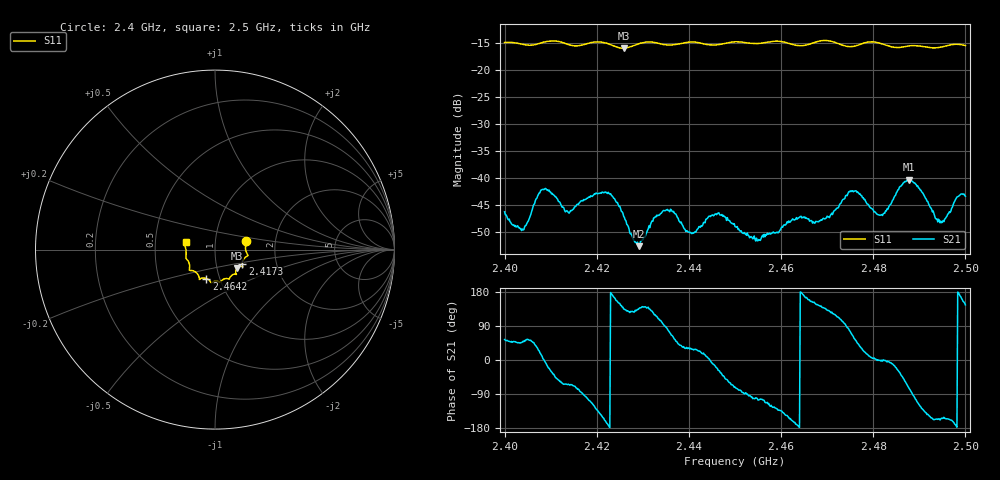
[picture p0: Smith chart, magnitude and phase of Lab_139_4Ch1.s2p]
# Hz S RI R 50
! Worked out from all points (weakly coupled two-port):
!   601 points, 2.4 GHz to 2.5 GHz, reference 50 ohm
!   highest |S21| = -40.25 dB at 2.4878 GHz (marker M1); lowest = -52.5 dB at 2.4292 GHz (marker M2)
!   lowest |S11| = -15.9 dB at 2.4258 GHz (marker M3), VSWR 1.38, Z = 62.3 - j13.2 ohm
!   |S11| at or under -10 dB: start of sweep to end of sweep
!   S12 and S22 are empty: the file has one direction only
!   S11 on the Smith chart (normalised r, x): 2.4 GHz: 1.41, +0.14; 2.4173 GHz: 1.34, -0.23; 2.4642 GHz: 0.86, -0.29; 2.5 GHz: 0.72, +0.06
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2.4e9  0.1732 0.0496  0.00289 0.00397  0 0  0 0
2.403833e9  0.1718 0.027  0.00232 0.00249  0 0  0 0
2.408333e9  0.1795 -0.0239  0.00791 0.000445  0 0  0 0
2.413667e9  0.168 -0.044  0.0021 -0.00449  0 0  0 0
2.416667e9  0.1531 -0.0745  0.00046 -0.00618  0 0  0 0
2.417333e9  0.1525 -0.082  -0.000366 -0.00632  0 0  0 0
2.4225e9  0.1485 -0.0936  -0.00737 -0.00101  0 0  0 0
2.425833e9  0.1215 -0.1037  -0.00314 0.00318  0 0  0 0
2.429167e9  0.1163 -0.1319  -0.0017 0.00164  0 0  0 0
2.433333e9  0.1127 -0.1366  -0.00147 0.00433  0 0  0 0
2.4405e9  0.0792 -0.1644  0.00271 0.00153  0 0  0 0
2.446e9  0.0474 -0.1648  0.00433 -0.00162  0 0  0 0
2.45e9  0.0295 -0.1807  0.00114 -0.00341  0 0  0 0
2.455e9  0.00178 -0.1767  -0.000726 -0.00256  0 0  0 0
2.464167e9  -0.0484 -0.1614  -0.00444 4.07e-05  0 0  0 0
2.466667e9  -0.0764 -0.1597  -0.00365 0.00173  0 0  0 0
2.475167e9  -0.1081 -0.125  0.00241 0.00715  0 0  0 0
2.481167e9  -0.1422 -0.1085  0.0046 -6.74e-05  0 0  0 0
2.483333e9  -0.1411 -0.0896  0.0054 -0.000315  0 0  0 0
2.487833e9  -0.1599 -0.0516  0.00237 -0.00942  0 0  0 0
2.4945e9  -0.1628 0.00453  -0.00361 -0.00143  0 0  0 0
2.5e9  -0.1638 0.042  -0.00562 0.00388  0 0  0 0
